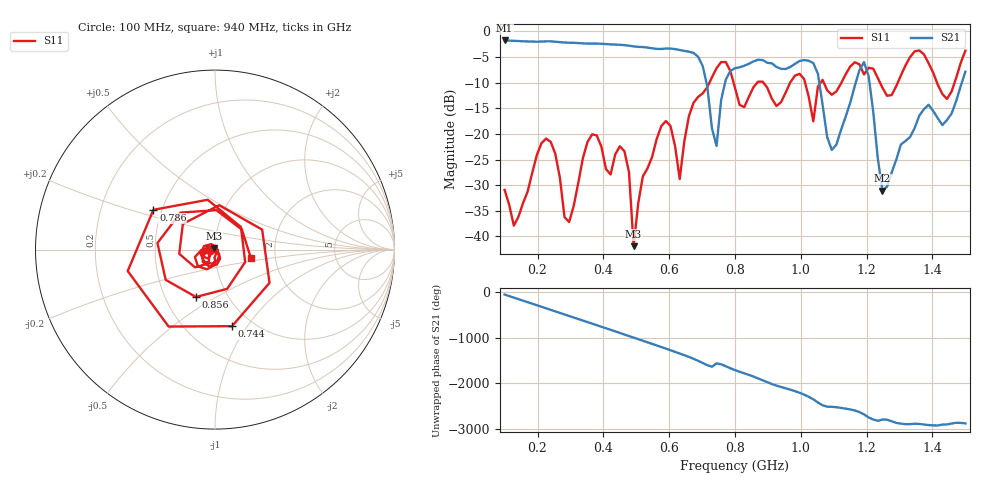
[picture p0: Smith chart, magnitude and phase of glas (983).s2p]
! NanoVNA-App
! Date: 2025-09-25 16:03:07
! Start: 100MHz Stop: 1,5GHz Points: 101
! S-Parameter data: F S11 S21 S12 S22
# Hz S RI R 50
!  Frequency  S11_Real  S11_Imag  S21_Real  S21_Imag  S12_Real  S12_Imag  S22_Real  S22_Imag
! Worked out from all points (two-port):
!   101 points, 100 MHz to 1.5 GHz, reference 50 ohm
!   highest |S21| = -1.80 dB at 100 MHz (marker M1); lowest = -31.1 dB at 1.248 GHz (marker M2)
!   |S21| within 3 dB of the highest: start of sweep to 684.7 MHz
!   lowest |S11| = -41.9 dB at 492 MHz (marker M3), VSWR 1.02, Z = 49.5 + j0.627 ohm
!   |S11| at or under -10 dB: start of sweep to 722.5 MHz; 795.5 MHz to 867.9 MHz (72.31 MHz wide, 8.69 % of centre); 886.1 MHz to 967.8 MHz (81.68 MHz wide, 8.81 % of centre) (the widest 3 of 7)
!   S12 and S22 are empty: the file has one direction only
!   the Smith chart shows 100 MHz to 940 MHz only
!   S11 on the Smith chart (normalised r, x): 100 MHz: 0.94, -0.01; 744 MHz: 0.81, -0.85; 786 MHz: 0.45, +0.24; 856 MHz: 0.71, -0.41; 940 MHz: 1.49, -0.14
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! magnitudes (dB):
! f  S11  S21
! 100 MHz  -30.9  -1.8
! 128 MHz  -37.9  -1.9
! 226 MHz  -20.9  -2.0
! 296 MHz  -37.2  -2.2
! 338 MHz  -24.7  -2.4
! 464 MHz  -23.4  -2.7
! 492 MHz  -41.9  -3.0
! 576 MHz  -18.5  -3.5
! 632 MHz  -28.8  -3.7
! 702 MHz  -12.1  -6.8
! 744 MHz  -7.2  -22.4
! 786 MHz  -7.8  -7.7
! 800 MHz  -11.0  -7.2
! 856 MHz  -10.9  -5.9
! 940 MHz  -13.8  -7.3
! 996 MHz  -8.3  -5.8
! 1.038 GHz  -17.6  -6.2
! 1.094 GHz  -12.4  -23.1
! 1.192 GHz  -8.4  -6.0
! 1.248 GHz  -11.0  -31.1
! 1.276 GHz  -12.4  -27.5
! 1.5 GHz  -3.8  -7.9
